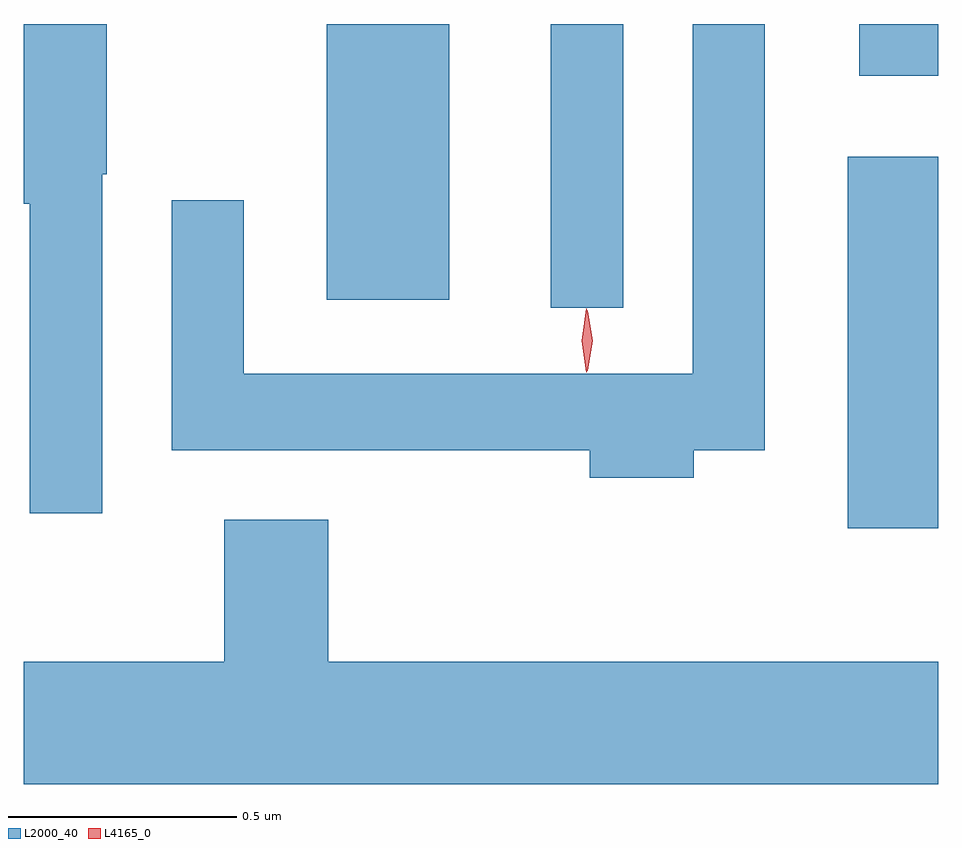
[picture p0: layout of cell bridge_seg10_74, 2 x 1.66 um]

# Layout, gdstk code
import gdstk
lib = gdstk.Library(unit=1e-6, precision=1e-09)
def R(c, l, rs):  # rectangles x0, y0, x1, y1
    for r in rs: c.add(gdstk.rectangle(r[:2], r[2:], *l))
def P(c, l, *ps):  # polygons
    for p in ps: c.add(gdstk.Polygon(p, *l))
L2000_40 = (2000, 40)
L4165_0 = (4165, 0)

bridge_seg10_74 = lib.new_cell('bridge_seg10_74')
R(bridge_seg10_74, L2000_40, [(1590.216,2178.856,1590.413,2179.669), (1589.566,2179.338,1589.724,2179.959), (1589.076,2179.356,1589.344,2179.959), (1590.241,2179.846,1590.413,2179.959)])
P(bridge_seg10_74, L2000_40, [(1588.584,2179.63),(1588.594,2179.63),(1588.594,2179.959),(1588.413,2179.959),(1588.413,2179.566),(1588.426,2179.566),(1588.426,2178.888),(1588.584,2178.888)],
  [(1589.879,2179.026),(1590.034,2179.026),(1590.034,2179.959),(1589.876,2179.959),(1589.876,2179.194),(1588.894,2179.194),(1588.894,2179.573),(1588.736,2179.573),(1588.736,2179.026),(1589.651,2179.026),(1589.651,2178.966),(1589.879,2178.966)],
  [(1590.413,2178.564),(1589.079,2178.564),(1589.079,2178.874),(1588.851,2178.874),(1588.851,2178.564),(1588.413,2178.564),(1588.413,2178.296),(1590.413,2178.296)])
P(bridge_seg10_74, L4165_0, [(1589.643,2179.197),(1589.634,2179.266),(1589.643,2179.336),(1589.644,2179.336),(1589.644,2179.336),(1589.654,2179.266),(1589.644,2179.197),(1589.644,2179.197)],
  [(1589.646,2179.2),(1589.637,2179.266),(1589.646,2179.332),(1589.646,2179.333),(1589.647,2179.332),(1589.657,2179.266),(1589.647,2179.2),(1589.647,2179.2)])

lib.write_gds('bridge_seg10_74.gds')
